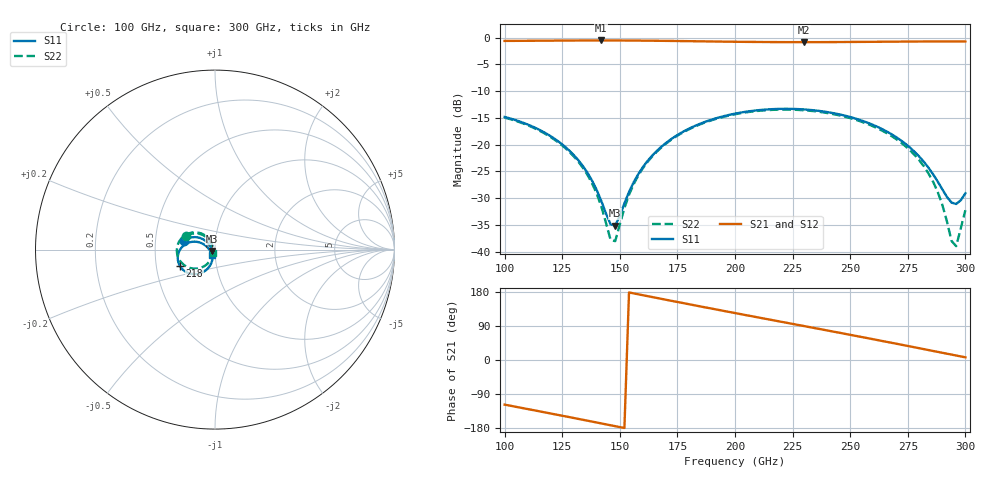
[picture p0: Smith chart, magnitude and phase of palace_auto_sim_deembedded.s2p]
! Created with skrf 1.11.0 (http://scikit-rf.org).
# GHz S DB R 50.0
!freq dBS11 angS11 dBS21 angS21 dBS12 angS12 dBS22 angS22
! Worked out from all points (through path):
!   101 points, 100 GHz to 300 GHz, reference 50 ohm
!   highest |S21| = -0.51 dB at 142 GHz (marker M1); lowest = -0.8 dB at 230 GHz (marker M2)
!   group delay of S21, straight-line fit = 3.25 ps
!   lowest |S11| = -35.1 dB at 148 GHz (marker M3), VSWR 1.04, Z = 48.5 - j0.789 ohm
!   |S11| at or under -10 dB: start of sweep to end of sweep
!   |S22| runs from -39.0 to -13.4 dB; largest |S21 - S12| = 1.1e-14
!   S11 on the Smith chart (normalised r, x): 100 GHz: 0.70, +0.07; 218 GHz: 0.66, -0.13; 300 GHz: 0.96, -0.06
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100  -14.82 164.8  -0.59 -117.8  -0.59 -117.8  -14.95 155.3
120  -18.43 145.3  -0.54 -141.2  -0.54 -141.2  -18.60 133.0
134  -24.02 136.9  -0.52 -157.8  -0.52 -157.8  -24.35 121.3
142  -30.57 147.3  -0.51 -167.4  -0.51 -167.4  -31.61 126.8
146  -34.92 179.5  -0.51 -172.2  -0.51 -172.2  -37.84 162.0
148  -35.14 -152.3  -0.51 -174.6  -0.51 -174.6  -38.05 -157.7
152  -30.99 -116.6  -0.52 -179.4  -0.52 -179.4  -31.86 -119.7
156  -27.06 -106.5  -0.53 175.8  -0.53 175.8  -27.42 -113.3
168  -20.41 -107.8  -0.58 161.4  -0.58 161.4  -20.55 -119.2
182  -16.62 -119.5  -0.65 144.9  -0.65 144.9  -16.73 -133.5
200  -14.20 -137.0  -0.75 123.9  -0.75 123.9  -14.32 -153.5
218  -13.33 -154.7  -0.81 103.2  -0.81 103.2  -13.47 -173.6
230  -13.42 -166.5  -0.82 89.5  -0.82 89.5  -13.58 173.0
234  -13.57 -170.4  -0.82 84.9  -0.82 84.9  -13.73 168.5
250  -14.84 174.4  -0.79 66.4  -0.79 66.4  -15.05 150.6
268  -18.07 159.3  -0.74 45.3  -0.74 45.3  -18.41 131.0
278  -21.37 154.6  -0.71 33.4  -0.71 33.4  -21.96 121.6
284  -24.33 156.2  -0.70 26.3  -0.70 26.3  -25.40 118.2
290  -28.37 169.1  -0.70 19.0  -0.70 19.0  -31.28 122.6
294  -30.85 -166.5  -0.70 14.2  -0.70 14.2  -38.04 153.9
296  -31.11 -149.4  -0.70 11.8  -0.70 11.8  -39.00 -162.4
300  -29.11 -121.0  -0.70 7.0  -0.70 7.0  -32.26 -119.3
